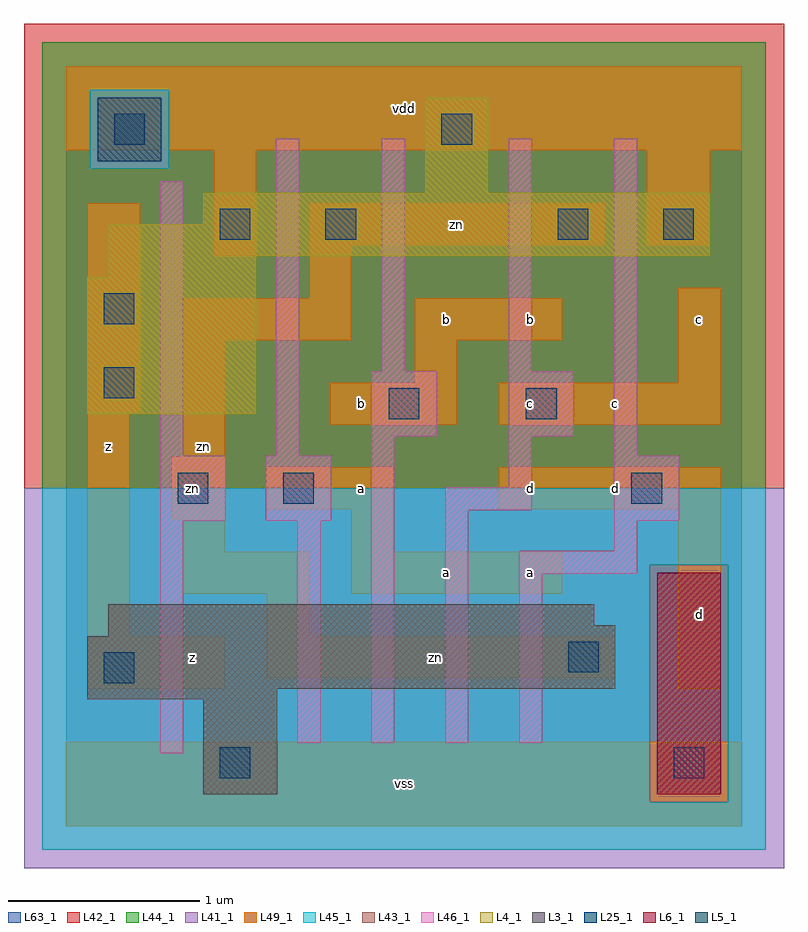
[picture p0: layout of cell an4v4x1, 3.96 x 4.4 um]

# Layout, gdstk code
import gdstk
lib = gdstk.Library(unit=1e-6, precision=1e-09)
def R(c, l, rs):  # rectangles x0, y0, x1, y1
    for r in rs: c.add(gdstk.rectangle(r[:2], r[2:], *l))
L3_1 = (3, 1)
L4_1 = (4, 1)
L5_1 = (5, 1)
L6_1 = (6, 1)
L25_1 = (25, 1)
L41_1 = (41, 1)
L42_1 = (42, 1)
L43_1 = (43, 1)
L44_1 = (44, 1)
L45_1 = (45, 1)
L46_1 = (46, 1)
L49_1 = (49, 1)
L63_1 = (63, 1)

an4v4x1 = lib.new_cell('an4v4x1')
R(an4v4x1, L3_1, [(0.715,0.165,1.1,0.66), (0.11,0.66,1.1,0.715), (0.11,0.715,2.86,0.99), (0.22,0.99,2.86,1.045), (0.22,1.045,2.75,1.155)])
R(an4v4x1, L4_1, [(0.11,2.145,0.99,2.86), (0.22,2.86,0.99,2.97), (0.22,2.97,3.355,3.135), (0.715,3.135,3.355,3.3), (1.87,3.3,2.2,3.795)])
R(an4v4x1, L5_1, [(0.165,3.465,0.495,3.795)])
R(an4v4x1, L6_1, [(3.08,0.165,3.41,1.32)])
R(an4v4x1, L25_1, [(0.8,0.25,0.96,0.41), (3.165,0.25,3.325,0.41), (0.195,0.745,0.355,0.905), (2.615,0.8,2.775,0.96), (0.58,1.68,0.74,1.84), (1.13,1.68,1.29,1.84), (2.945,1.68,3.105,1.84), (1.68,2.12,1.84,2.28), (2.395,2.12,2.555,2.28), (0.195,2.23,0.355,2.39), (0.195,2.615,0.355,2.775), (0.8,3.055,0.96,3.215), (1.35,3.055,1.51,3.215), (2.56,3.055,2.72,3.215), (3.11,3.055,3.27,3.215), (0.25,3.55,0.41,3.71), (1.955,3.55,2.115,3.71)])
R(an4v4x1, L41_1, [(-0.22,-0.22,3.74,1.76)])
R(an4v4x1, L42_1, [(-0.22,1.76,3.74,4.18)])
R(an4v4x1, L43_1, [(0.715,0.165,1.1,0.66), (3.08,0.165,3.41,1.32), (0.11,0.66,1.1,0.715), (0.11,0.715,2.86,0.99), (0.22,0.99,2.86,1.045), (0.22,1.045,2.75,1.155), (0.11,2.145,0.99,2.86), (0.22,2.86,0.99,2.97), (0.22,2.97,3.355,3.135), (0.715,3.135,3.355,3.3), (1.87,3.3,2.2,3.795), (0.165,3.465,0.495,3.795)])
R(an4v4x1, L44_1, [(3.04,0.125,3.45,1.36), (-0.125,1.76,3.645,3.425), (-0.125,3.425,0.125,3.835), (0.535,3.425,3.645,3.835), (-0.125,3.835,3.645,4.085)])
R(an4v4x1, L45_1, [(-0.125,-0.125,3.645,0.125), (-0.125,0.125,3.04,1.36), (3.45,0.125,3.645,1.36), (-0.125,1.36,3.645,1.76), (0.125,3.425,0.535,3.835)])
R(an4v4x1, L46_1, [(0.49,0.38,0.61,1.59), (1.205,0.435,1.325,1.59), (1.59,0.435,1.71,2.03), (1.975,0.435,2.095,1.645), (2.36,0.435,2.48,1.315), (2.36,1.315,2.975,1.435), (2.855,1.435,2.975,1.59), (0.49,1.59,0.83,1.93), (1.04,1.59,1.38,1.93), (2.855,1.59,3.195,1.93), (1.975,1.645,2.425,1.765), (2.305,1.765,2.425,2.03), (0.49,1.93,0.61,3.36), (1.095,1.93,1.215,3.58), (2.855,1.93,2.975,3.58), (1.59,2.03,1.93,2.37), (2.305,2.03,2.645,2.37), (1.645,2.37,1.765,3.58), (2.305,2.37,2.425,3.58)])
R(an4v4x1, L49_1, [(0,0,3.52,0.44), (0.11,0.715,0.825,0.99), (3.19,0.715,3.41,1.65), (1.045,0.77,2.86,0.99), (0.11,0.99,0.33,2.145), (1.045,0.99,1.265,1.21), (0.605,1.21,1.265,1.43), (1.485,1.21,2.585,1.43), (0.605,1.43,0.825,1.595), (1.485,1.43,1.705,1.65), (0.55,1.595,0.825,1.925), (1.045,1.65,1.705,1.87), (2.255,1.65,3.41,1.87), (0.605,1.925,0.825,2.53), (1.375,2.09,2.035,2.31), (2.255,2.09,3.41,2.31), (0.11,2.145,0.385,3.245), (1.815,2.31,2.035,2.53), (3.19,2.31,3.41,2.805), (0.605,2.53,1.485,2.75), (1.815,2.53,2.585,2.75), (1.265,2.75,1.485,3.025), (0.77,2.97,0.99,3.52), (1.265,3.025,2.805,3.245), (3.025,3.025,3.355,3.52), (0,3.52,3.52,3.96)])
R(an4v4x1, L63_1, [(0,0,3.52,3.96)])
an4v4x1.add(gdstk.Label('zn', (0.66,1.76), layer=49, texttype=1))
an4v4x1.add(gdstk.Label('z', (0.22,1.98), layer=49, texttype=1))
an4v4x1.add(gdstk.Label('z', (0.66,0.88), layer=49, texttype=1))
an4v4x1.add(gdstk.Label('zn', (0.715,1.98), layer=49, texttype=1))
an4v4x1.add(gdstk.Label('vss', (1.76,0.22), layer=49, texttype=1))
an4v4x1.add(gdstk.Label('a', (1.98,1.32), layer=49, texttype=1))
an4v4x1.add(gdstk.Label('a', (1.54,1.76), layer=49, texttype=1))
an4v4x1.add(gdstk.Label('b', (1.54,2.2), layer=49, texttype=1))
an4v4x1.add(gdstk.Label('b', (1.98,2.64), layer=49, texttype=1))
an4v4x1.add(gdstk.Label('vdd', (1.76,3.74), layer=49, texttype=1))
an4v4x1.add(gdstk.Label('zn', (1.925,0.88), layer=49, texttype=1))
an4v4x1.add(gdstk.Label('a', (2.42,1.32), layer=49, texttype=1))
an4v4x1.add(gdstk.Label('d', (2.42,1.76), layer=49, texttype=1))
an4v4x1.add(gdstk.Label('c', (2.42,2.2), layer=49, texttype=1))
an4v4x1.add(gdstk.Label('b', (2.42,2.64), layer=49, texttype=1))
an4v4x1.add(gdstk.Label('zn', (2.035,3.135), layer=49, texttype=1))
an4v4x1.add(gdstk.Label('d', (3.3,1.1), layer=49, texttype=1))
an4v4x1.add(gdstk.Label('d', (2.86,1.76), layer=49, texttype=1))
an4v4x1.add(gdstk.Label('c', (2.86,2.2), layer=49, texttype=1))
an4v4x1.add(gdstk.Label('c', (3.3,2.64), layer=49, texttype=1))

lib.write_gds('an4v4x1.gds')
